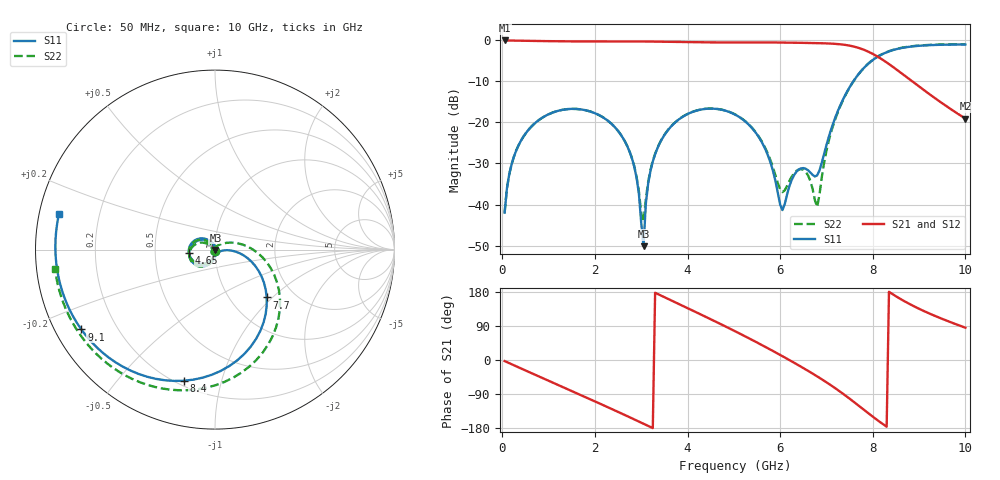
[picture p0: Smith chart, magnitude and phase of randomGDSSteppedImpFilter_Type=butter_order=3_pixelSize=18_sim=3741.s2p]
! freq	dB(S11)	phase(S11)	dB(S12)	phase(S12)
!  dB(S21)	phase(S21)	dB(S22)	phase(S22)
!S-par simulation data
#  GHz  S  DB  R 50
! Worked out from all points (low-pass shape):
!   200 points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, 50 MHz to 10 GHz, reference 50 ohm
!   highest |S21| = -0.02 dB at 50 MHz (marker M1); lowest = -19.1 dB at 10 GHz (marker M2)
!   |S21| within 3 dB of the highest: start of sweep to 7.953 GHz
!   lowest |S11| = -50.1 dB at 3.05 GHz (marker M3), VSWR 1.01, Z = 50.3 - j0.174 ohm
!   |S11| at or under -10 dB: start of sweep to 7.579 GHz
!   |S22| runs from -44.2 to -0.9 dB; largest |S21 - S12| = 0
!   S11 on the Smith chart (normalised r, x): 50 MHz: 1.00, -0.02; 4.65 GHz: 0.75, -0.03; 7.7 GHz: 1.46, -0.92; 8.4 GHz: 0.23, -0.76; 9.1 GHz: 0.08, -0.27; 10 GHz: 0.06, +0.11
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0.05  -41.96 -82.8  -0.02 -2.8  -0.02 -2.8  -41.96 -82.8
0.2  -30.23 -95.8  -0.05 -11.1  -0.05 -11.1  -30.23 -95.5
0.5  -22.74 -115.0  -0.10 -27.6  -0.10 -27.6  -22.73 -114.3
1.75  -16.91 173.9  -0.26 -95.5  -0.26 -95.5  -16.91 177.0
2.7  -25.81 118.8  -0.25 -148.2  -0.25 -148.2  -25.78 129.2
2.9  -33.47 104.1  -0.26 -159.6  -0.26 -159.6  -33.26 126.8
3.05  -50.15 -33.9  -0.27 -168.2  -0.27 -168.2  -44.24 -144.1
3.15  -34.88 -78.4  -0.28 -173.9  -0.28 -173.9  -34.47 -99.2
3.4  -25.05 -97.3  -0.31 171.7  -0.31 171.7  -24.99 -101.7
4.65  -16.73 -172.5  -0.50 98.7  -0.50 98.7  -16.70 -167.5
5.05  -18.22 162.5  -0.50 74.5  -0.50 74.5  -18.19 170.7
5.65  -25.81 119.7  -0.50 36.6  -0.50 36.6  -25.59 143.5
6.05  -41.35 11.9  -0.53 10.0  -0.53 10.0  -36.97 -168.1
6.35  -32.02 -72.3  -0.57 -10.6  -0.57 -10.6  -31.81 -128.9
6.7  -32.77 -67.8  -0.64 -35.8  -0.64 -35.8  -36.17 -164.8
6.8  -32.89 -41.7  -0.66 -43.3  -0.66 -43.3  -40.59 130.2
7.15  -20.05 -4.1  -0.81 -71.1  -0.81 -71.1  -20.52 24.5
7.7  -8.12 -42.8  -1.85 -121.0  -1.85 -121.0  -8.13 -28.0
8.35  -2.67 -99.6  -5.77 179.9  -5.77 179.9  -2.63 -85.9
8.4  -2.48 -103.5  -6.17 175.9  -6.17 175.9  -2.43 -89.8
9.1  -1.24 -149.1  -12.08 129.4  -12.08 129.4  -1.17 -133.6
10  -1.00 167.3  -19.07 85.2  -19.07 85.2  -0.93 -173.2
